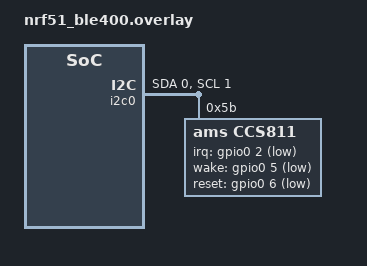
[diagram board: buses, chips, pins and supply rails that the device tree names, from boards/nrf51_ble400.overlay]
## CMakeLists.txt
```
#
# Copyright (c) 2018 Linaro Ltd.
#
# SPDX-License-Identifier: Apache-2.0
#

cmake_minimum_required(VERSION 3.13.1)
find_package(Zephyr REQUIRED HINTS $ENV{ZEPHYR_BASE})
project(ccs811)

FILE(GLOB app_sources src/*.c)
target_sources(app PRIVATE ${app_sources})
```

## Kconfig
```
#
# Copyright (c) 2018 Peter Bigot Consulting, LLC
#
# SPDX-License-Identifier: Apache-2.0
#

mainmenu "CCS811 sample application"

choice
	prompt "CCS811 Trigger On"
	default APP_TRIGGER_ON_DATAREADY
	depends on CCS811_TRIGGER
	help
	  Select the type of trigger to use

config APP_TRIGGER_ON_DATAREADY
	bool "Trigger on data ready"

config APP_TRIGGER_ON_THRESHOLD
	bool "Trigger on eCO2 threshold crossing"

endchoice

config APP_CO2_MEDIUM_PPM
	int "Threshold of eCO2 between low and medium"
	default 1500
	depends on APP_TRIGGER_ON_THRESHOLD

config APP_CO2_HIGH_PPM
	int "Threshold of eCO2 between medium and high"
	default 2500
	depends on APP_TRIGGER_ON_THRESHOLD

config APP_MONITOR_BASELINE
	bool "Display BASELINE register value for each sample"
	default y

config APP_USE_ENVDATA
	bool "Program CCS811 with fixed environmental parameters"
	default n

config APP_ENV_TEMPERATURE
	int "Environment temperature for CCS811, Cel"
	default 25
	depends on APP_USE_ENVDATA

config APP_ENV_HUMIDITY
	int "Environment humidity for CCS811, %RH"
	default 50
	depends on APP_USE_ENVDATA

source "Kconfig.zephyr"
```

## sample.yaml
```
#
# Copyright (c) 2018 Linaro Ltd.
#
# SPDX-License-Identifier: Apache-2.0
#

sample:
  description: Demonstration of the CCS811 Digital Gas Sensor driver
  name: CCS811 sample
tests:
  sample.sensor.ccs811:
    harness: sensor
    tags: sensors
    platform_allow: thingy52_nrf52832 efr32mg_sltb004a
    integration_platforms:
      - efr32mg_sltb004a
    depends_on: i2c
```

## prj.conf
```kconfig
#
# Copyright (c) 2018 Linaro Ltd.
#
# SPDX-License-Identifier: Apache-2.0
#

CONFIG_STDOUT_CONSOLE=y
CONFIG_I2C=y
CONFIG_SENSOR=y
CONFIG_CCS811=y
```

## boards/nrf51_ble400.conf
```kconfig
#
# Copyright (c) 2018 Peter Bigot Consulting, LLC
#
# SPDX-License-Identifier: Apache-2.0
#

CONFIG_STDOUT_CONSOLE=y
CONFIG_SENSOR=y
CONFIG_CCS811=y
#CONFIG_CCS811_DRIVE_MODE_2=y
#CONFIG_CCS811_TRIGGER_GLOBAL_THREAD=y
#CONFIG_CCS811_TRIGGER_OWN_THREAD=y
```

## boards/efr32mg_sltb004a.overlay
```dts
/*
 * Copyright (c) 2020 Christian Taedcke
 *
 * SPDX-License-Identifier: Apache-2.0
 */

&i2c1 {
	status = "okay";
};
```

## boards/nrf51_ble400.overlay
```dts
/*
 * Copyright (c) 2018 Peter Bigot Consulting, LLC
 *
 * SPDX-License-Identifier: Apache-2.0
 */

&i2c0 {
	status = "okay";
	sda-pin = <0>;
	scl-pin = <1>;

	/* Sparkfun Environment Combo uses second I2C address */
	ccs811: ccs811@5b {
		compatible = "ams,ccs811";
		reg = <0x5b>;
		label = "CCS811";
		irq-gpios = <&gpio0 2 GPIO_ACTIVE_LOW>;
		wake-gpios = <&gpio0 5 GPIO_ACTIVE_LOW>;
		reset-gpios = <&gpio0 6 GPIO_ACTIVE_LOW>;
	};
};
```

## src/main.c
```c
/*
 * Copyright (c) 2018 Peter Bigot Consulting, LLC
 * Copyright (c) 2018 Linaro Ltd.
 *
 * SPDX-License-Identifier: Apache-2.0
 */

#include <zephyr.h>
#include <device.h>
#include <drivers/sensor.h>
#include <sys/printk.h>
#include <drivers/sensor/ccs811.h>
#include <stdio.h>

static bool app_fw_2;

static const char *now_str(void)
{
	static char buf[16]; /* ...HH:MM:SS.MMM */
	uint32_t now = k_uptime_get_32();
	unsigned int ms = now % MSEC_PER_SEC;
	unsigned int s;
	unsigned int min;
	unsigned int h;

	now /= MSEC_PER_SEC;
	s = now % 60U;
	now /= 60U;
	min = now % 60U;
	now /= 60U;
	h = now;

	snprintf(buf, sizeof(buf), "%u:%02u:%02u.%03u",
		 h, min, s, ms);
	return buf;
}

static int do_fetch(const struct device *dev)
{
	struct sensor_value co2, tvoc, voltage, current;
	int rc = 0;
	int baseline = -1;

#ifdef CONFIG_APP_MONITOR_BASELINE
	rc = ccs811_baseline_fetch(dev);
	if (rc >= 0) {
		baseline = rc;
		rc = 0;
	}
#endif
	if (rc == 0) {
		rc = sensor_sample_fetch(dev);
	}
	if (rc == 0) {
		const struct ccs811_result_type *rp = ccs811_result(dev);

		sensor_channel_get(dev, SENSOR_CHAN_CO2, &co2);
		sensor_channel_get(dev, SENSOR_CHAN_VOC, &tvoc);
		sensor_channel_get(dev, SENSOR_CHAN_VOLTAGE, &voltage);
		sensor_channel_get(dev, SENSOR_CHAN_CURRENT, &current);
		printk("\n[%s]: CCS811: %u ppm eCO2; %u ppb eTVOC\n",
		       now_str(), co2.val1, tvoc.val1);
		printk("Voltage: %d.%06dV; Current: %d.%06dA\n", voltage.val1,
		       voltage.val2, current.val1, current.val2);
#ifdef CONFIG_APP_MONITOR_BASELINE
		printk("BASELINE %04x\n", baseline);
#endif
		if (app_fw_2 && !(rp->status & CCS811_STATUS_DATA_READY)) {
			printk("STALE DATA\n");
		}

		if (rp->status & CCS811_STATUS_ERROR) {
			printk("ERROR: %02x\n", rp->error);
		}
	}
	return rc;
}

#ifndef CONFIG_CCS811_TRIGGER_NONE

static void trigger_handler(const struct device *dev,
			    struct sensor_trigger *trig)
{
	int rc = do_fetch(dev);

	if (rc == 0) {
		printk("Triggered fetch got %d\n", rc);
	} else if (-EAGAIN == rc) {
		printk("Triggered fetch got stale data\n");
	} else {
		printk("Triggered fetch failed: %d\n", rc);
	}
}

#endif /* !CONFIG_CCS811_TRIGGER_NONE */

static void do_main(const struct device *dev)
{
	while (true) {
		int rc = do_fetch(dev);

		if (rc == 0) {
			printk("Timed fetch got %d\n", rc);
		} else if (-EAGAIN == rc) {
			printk("Timed fetch got stale data\n");
		} else {
			printk("Timed fetch failed: %d\n", rc);
			break;
		}
		k_msleep(1000);
	}
}

void main(void)
{
	const struct device *dev = device_get_binding(DT_LABEL(DT_INST(0, ams_ccs811)));
	struct ccs811_configver_type cfgver;
	int rc;

	if (!dev) {
		printk("Failed to get device binding");
		return;
	}

	printk("device is %p, name is %s\n", dev, dev->name);

	rc = ccs811_configver_fetch(dev, &cfgver);
	if (rc == 0) {
		printk("HW %02x; FW Boot %04x App %04x ; mode %02x\n",
		       cfgver.hw_version, cfgver.fw_boot_version,
		       cfgver.fw_app_version, cfgver.mode);
		app_fw_2 = (cfgver.fw_app_version >> 8) > 0x11;
	}

#ifdef CONFIG_APP_USE_ENVDATA
	struct sensor_value temp = { CONFIG_APP_ENV_TEMPERATURE };
	struct sensor_value humidity = { CONFIG_APP_ENV_HUMIDITY };

	rc = ccs811_envdata_update(dev, &temp, &humidity);
	printk("ENV_DATA set for %d Cel, %d %%RH got %d\n",
	       temp.val1, humidity.val1, rc);
#endif

#ifdef CONFIG_CCS811_TRIGGER
	struct sensor_trigger trig = { 0 };

#ifdef CONFIG_APP_TRIGGER_ON_THRESHOLD
	printk("Triggering on threshold:\n");
	if (rc == 0) {
		struct sensor_value thr = {
			.val1 = CONFIG_APP_CO2_MEDIUM_PPM,
		};
		rc = sensor_attr_set(dev, SENSOR_CHAN_CO2,
				     SENSOR_ATTR_LOWER_THRESH,
				     &thr);
		printk("L/M threshold to %d got %d\n", thr.val1, rc);
	}
	if (rc == 0) {
		struct sensor_value thr = {
			.val1 = CONFIG_APP_CO2_HIGH_PPM,
		};
		rc = sensor_attr_set(dev, SENSOR_CHAN_CO2,
				     SENSOR_ATTR_UPPER_THRESH,
				     &thr);
		printk("M/H threshold to %d got %d\n", thr.val1, rc);
	}
	trig.type = SENSOR_TRIG_THRESHOLD;
	trig.chan = SENSOR_CHAN_CO2;
#elif defined(CONFIG_APP_TRIGGER_ON_DATAREADY)
	printk("Triggering on data ready\n");
	trig.type = SENSOR_TRIG_DATA_READY;
	trig.chan = SENSOR_CHAN_ALL;
#else
#error Unhandled trigger on
#endif
	if (rc == 0) {
		rc = sensor_trigger_set(dev, &trig, trigger_handler);
	}
	if (rc == 0) {
#ifdef CONFIG_APP_TRIGGER_ON_DATAREADY
		while (true) {
			k_sleep(K_FOREVER);
		}
#endif
	}
	printk("Trigger installation got: %d\n", rc);
#endif /* CONFIG_CCS811_TRIGGER */
	if (rc == 0) {
		do_main(dev);
	}
}
```
